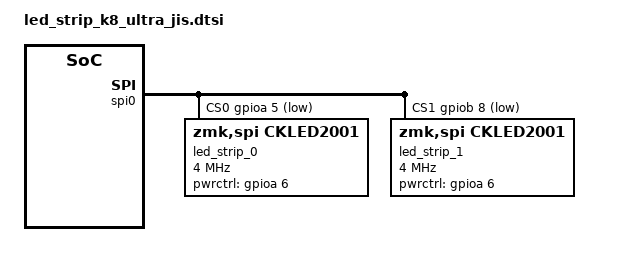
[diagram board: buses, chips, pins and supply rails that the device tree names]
#include <dt-bindings/zmk/ckled2001.h>

/ {
    chosen {
        
        zmk,underglow = &led_strip;
    };
    led_strip: led-strip-composite {
        compatible = "zmk,led-strip-composite";
        chain-length = <91>;
        strip0 {
            led-strip = <&led_strip_0>;
        };
        strip1 {
            led-strip = <&led_strip_1>;
        };
    };

    

};
// dma is optional
&dma0 {
    status = "okay";
};
 
&spi0 {
    status = "okay";
    pinctrl-0 = <&spi0_default>;
    pinctrl-1 = <&spi0_sleep>;
    pinctrl-names = "default","sleep";
    cs-gpios=
        <&gpioa  5 GPIO_ACTIVE_LOW>,  //cs0 p0_5
        <&gpiob  8 GPIO_ACTIVE_LOW>;  //cs1 p4_3
        
    // dma is optional
	dmas = <&dma0 6 17 0xa>, <&dma0 5 16 0x10021>;
	dma-names = "rx", "tx";

        led_strip_0: ckled2001@0 {
            compatible = "zmk,spi,ckled2001";
            reg = <0>;
            spi-max-frequency = <4000000>;
            chain-length = <48>; //16+16+16
            map = <
            /* ROW 0 */
            /*   R        G        B */
            CK(6,0) CK(8,0) CK(7,0)
            CK(6,1) CK(8,1) CK(7,1)
            CK(6,2) CK(8,2) CK(7,2)
            CK(6,3) CK(8,3) CK(7,3)
            CK(6,4) CK(8,4) CK(7,4)
            CK(6,5) CK(8,5) CK(7,5)
            CK(6, 6) CK(8, 6) CK(7, 6)
            CK(6, 7) CK(8, 7) CK(7, 7)
            CK(6, 8) CK(8, 8) CK(7, 8)
            CK(6, 9) CK(8, 9) CK(7, 9)
            CK(6, 10) CK(8, 10) CK(7, 10)
            CK(6, 11) CK(8, 11) CK(7, 11)
            CK(6, 12) CK(8, 12) CK(7, 12)
            
            CK(6, 13) CK(8, 13) CK(7, 13)
            CK(6, 14) CK(8, 14) CK(7, 14)            
            CK(6, 15) CK(8, 15) CK(7, 15)
            

            /* ROW 1 */
            /*   R        G        B */
            CK(3,0) CK(5,0) CK(4,0)
            CK(3,1) CK(5,1) CK(4,1)
            CK(3,2) CK(5,2) CK(4,2)
            CK(3,3) CK(5,3) CK(4,3)
            CK(3,4) CK(5,4) CK(4,4)
            CK(3,5) CK(5,5) CK(4,5)
            CK(3,6) CK(5,6) CK(4,6)
            CK(3, 7) CK(5, 7) CK(4, 7)
            CK(3, 8) CK(5, 8) CK(4, 8)
            CK(3, 9) CK(5, 9) CK(4, 9)
            CK(3, 10) CK(5,10) CK(4,10)
            CK(3, 11) CK(5, 11) CK(4, 11)
            CK(3, 12) CK(5, 12) CK(4, 12)
            CK(3, 13) CK(5, 13) CK(4, 13)
            CK(3, 14) CK(5, 14) CK(4, 14)
            CK(3, 15) CK(5, 15) CK(4, 15)
            /* ROW 2 */
            /*   R        G        B */
            CK(2,0) CK(0,0) CK(1,0)
            CK(2,1) CK(0,1) CK(1,1)
            CK(2,2) CK(0,2) CK(1,2)
            CK(2,3) CK(0,3) CK(1,3)
            CK(2,4) CK(0,4) CK(1,4)
            CK(2,5) CK(0,5) CK(1,5)
            CK(2,6) CK(0,6) CK(1,6)
            CK(2, 7) CK(0, 7) CK(1, 7)
            CK(2, 8) CK(0, 8) CK(1, 8)
            CK(2, 9) CK(0, 9) CK(1, 9)
            CK(2, 10) CK(0,10) CK(1,10)
            CK(2, 11) CK(0, 11) CK(1, 11)
            CK(2, 12) CK(0, 12) CK(1, 12)
            CK(2, 13) CK(0, 13) CK(1, 13)
            CK(2, 14) CK(0, 14) CK(1, 14)
            CK(2, 15) CK(0, 15) CK(1, 15)
            >;
            current_tune =
            // <0x60 0xC4 0xC4 0x60 0xC4 0xC4 0x60 0xC4 0xC4 0x60 0xC4 0xC4>;
            //    <0x25 0x4c 0x4c 0x25 0x4c 0x4c 0x25 0x4c 0x4c 0x25 0x4c 0x4c >;
            <0x38 0x38 0x40 0x40 0x40 0x40 0x36 0x36 0x38 0x38 0x38 0x38 >;
            pwrctrl-gpios =<&gpioa 6 GPIO_ACTIVE_HIGH>;  //P0_6
            pinctrl-0 = <&ckled_default>;
            pinctrl-1 = <&ckled_sleep>;
            pinctrl-names = "default","sleep";
    };
    led_strip_1: ckled2001@1 {
            compatible = "zmk,spi,ckled2001";
            reg = <1>;
            spi-max-frequency = <4000000>;
            chain-length = <43>;//13 +14 +16
            map = <
            /* ROW 3 */
            /*   R        G        B */
            CK(6,0) CK(8,0) CK(7,0)
            CK(6,1) CK(8,1) CK(7,1)
            CK(6,2) CK(8,2) CK(7,2)
            CK(6,3) CK(8,3) CK(7,3)
            CK(6,4) CK(8,4) CK(7,4)
            CK(6,5) CK(8,5) CK(7,5)
            CK(6, 6) CK(8, 6) CK(7, 6)
            CK(6, 7) CK(8, 7) CK(7, 7)
            CK(6, 8) CK(8, 8) CK(7, 8)
            CK(6, 9) CK(8, 9) CK(7, 9)
            CK(6, 10) CK(8, 10) CK(7, 10)
            CK(6, 11) CK(8, 11) CK(7, 11)
            // CK(6, 12) CK(8, 12) CK(7, 12)
            CK(6, 13) CK(8, 13) CK(7, 13)
            // CK(6, 14) CK(8, 14) CK(7, 14)  
            // CK(6, 15) CK(8, 15) CK(7, 15)

            /* ROW 4 */
            /*   R        G        B */
            CK(0,0) CK(2,0) CK(1,0)
            // CK(0,1) CK(2,1) CK(1,1)
            CK(0,2) CK(2,2) CK(1,2)
            CK(0,3) CK(2,3) CK(1,3)
            CK(0,4) CK(2,4) CK(1,4)
            CK(0,5) CK(2,5) CK(1,5)
            CK(0, 6) CK(2, 6) CK(1, 6)
            CK(0, 7) CK(2, 7) CK(1, 7)
            CK(0, 8) CK(2, 8) CK(1, 8)
            CK(0, 9) CK(2, 9) CK(1, 9)
            CK(0, 10) CK(2, 10) CK(1, 10)
            CK(0, 11) CK(2, 11) CK(1, 11)
            CK(0, 12) CK(2, 12) CK(1, 12) 
            CK(0, 13) CK(2, 13) CK(1, 13) 
            // CK(0, 14) CK(2, 14) CK(1, 14) 
            CK(0, 15) CK(2, 15) CK(1, 15) 
            /* ROW 5 */
            /*   R        G        B */
            CK(3,0) CK(5,0) CK(4,0)
            CK(3,1) CK(5,1) CK(4,1)
            CK(3,2) CK(5,2) CK(4,2)
            CK(3,3) CK(5,3) CK(4,3)
            // CK(3,4) CK(5,4) CK(4,4)
            // CK(3,5) CK(5,5) CK(4,5)
            CK(3, 6) CK(5, 6) CK(4, 6)
            // CK(3, 7) CK(5, 7) CK(4, 7)
            // CK(3, 8) CK(5, 8) CK(4, 8)
            CK(3, 9) CK(5, 9) CK(4, 9)
            CK(3, 10) CK(5, 10) CK(4, 10)
            CK(3, 11) CK(5, 11) CK(4, 11)
            CK(3, 12) CK(5, 12) CK(4, 12)
            CK(3, 13) CK(5, 13) CK(4, 13)
            CK(3, 14) CK(5, 14) CK(4, 14)
            CK(3, 15) CK(5, 15) CK(4, 15)
            CK(6, 15) CK(8, 15) CK(7, 15)

            CK(0, 14) CK(2, 14) CK(1, 14)
            CK(6, 12) CK(8, 12) CK(7, 12)
            CK(6, 14) CK(8, 14) CK(7, 14)

            >;
            current_tune =
            // <0x60 0xC4 0xC4 0x60 0xC4 0xC4 0x60 0xC4 0xC4 0x60 0xC4 0xC4>;
            // <0x25 0x4c 0x4c 0x25 0x4c 0x4c 0x25 0x4c 0x4c 0x25 0x4c 0x4c >;
            <0x38 0x38 0x38 0x38 0x38 0x38 0x40 0x40 0x40 0x38 0x38 0x38 >;
            pwrctrl-gpios =<&gpioa  6 (GPIO_ACTIVE_HIGH|GPIO_PULL_UP)>;//P0_6
            pinctrl-0 = <&ckled_default>;
            pinctrl-1 = <&ckled_sleep>;
            pinctrl-names = "default","sleep";
    };

};

&pinctrl {


    spi0_default:spi0_default{
        group1 {
            psels = <RTL87X2G_PSEL(SPI0_CLK_MASTER, P4_0, DIR_OUT, DRV_HIGH, PULL_UP)>,
            <RTL87X2G_PSEL(SPI0_MO_MASTER, P4_2, DIR_OUT, DRV_HIGH, PULL_UP)>,
            <RTL87X2G_PSEL(SPI0_CSN_0_MASTER, P0_5, DIR_OUT, DRV_HIGH, PULL_UP)>,
            <RTL87X2G_PSEL(SPI0_CSN_1_MASTER, P4_3, DIR_OUT, DRV_HIGH, PULL_UP)>;
        };
    };
    spi0_sleep:spi0_sleep{
        group1 {
            psels = <RTL87X2G_PSEL(SW_MODE, P4_0, DIR_IN, DRV_LOW, PULL_DOWN)>,
            <RTL87X2G_PSEL(SW_MODE, P4_2, DIR_IN, DRV_LOW, PULL_DOWN)>,
            <RTL87X2G_PSEL(SW_MODE, P0_5, DIR_IN, DRV_LOW, PULL_DOWN)>,
            <RTL87X2G_PSEL(SW_MODE, P4_3, DIR_IN, DRV_LOW, PULL_DOWN)>;
        };
    };
    ckled_default:ckled_default {
        group1 {
            psels =
            <RTL87X2G_PSEL(DWGPIO, P0_6, DIR_OUT, DRV_HIGH, PULL_UP)>;
            
        };
    };
    ckled_sleep:ckled_sleep {
        group1 {
            psels =
            <RTL87X2G_PSEL(SW_MODE, P0_6, DIR_IN, DRV_LOW, PULL_DOWN)>;
            
        };
    };
};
